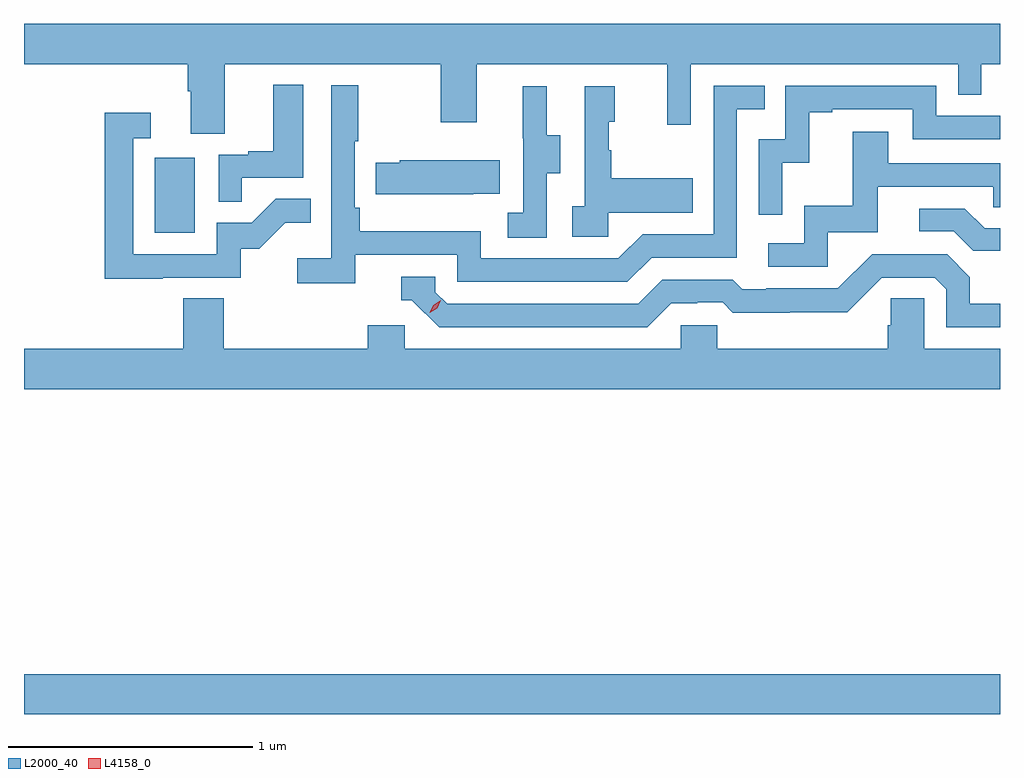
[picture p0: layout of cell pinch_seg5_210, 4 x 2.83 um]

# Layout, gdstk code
import gdstk
lib = gdstk.Library(unit=1e-6, precision=1e-09)
def R(c, l, rs):  # rectangles x0, y0, x1, y1
    for r in rs: c.add(gdstk.rectangle(r[:2], r[2:], *l))
def P(c, l, *ps):  # polygons
    for p in ps: c.add(gdstk.Polygon(p, *l))
L2000_40 = (2000, 40)
L4158_0 = (4158, 0)

pinch_seg5_210 = lib.new_cell('pinch_seg5_210')
R(pinch_seg5_210, L2000_40, [(1009.716,902.048,1013.716,902.212), (1010.252,904.02,1010.416,904.327)])
P(pinch_seg5_210, L2000_40, [(1010.539,904.712),(1011.424,904.712),(1011.424,904.473),(1011.571,904.473),(1011.571,904.712),(1012.352,904.712),(1012.352,904.464),(1012.449,904.464),(1012.449,904.712),(1013.544,904.712),(1013.544,904.585),(1013.64,904.585),(1013.64,904.712),(1013.716,904.712),(1013.716,904.876),(1009.716,904.876),(1009.716,904.712),(1010.387,904.712),(1010.387,904.6),(1010.399,904.6),(1010.399,904.426),(1010.539,904.426)],
  [(1010.609,904.245),(1010.86,904.245),(1010.86,904.627),(1010.738,904.627),(1010.738,904.354),(1010.635,904.354),(1010.635,904.341),(1010.514,904.341),(1010.514,904.147),(1010.609,904.147)],
  [(1011.074,903.93),(1011.492,903.93),(1011.492,903.819),(1012.189,903.819),(1012.288,903.918),(1012.638,903.918),(1012.638,904.527),(1012.751,904.527),(1012.751,904.623),(1012.542,904.623),(1012.542,904.014),(1012.251,904.014),(1012.152,903.915),(1011.588,903.915),(1011.588,904.027),(1011.092,904.027),(1011.092,904.123),(1011.072,904.123),(1011.072,904.396),(1011.085,904.396),(1011.085,904.624),(1010.976,904.624),(1010.976,903.916),(1010.835,903.916),(1010.835,903.814),(1011.074,903.814)],
  [(1012.824,904.307),(1012.934,904.307),(1012.934,904.515),(1013.029,904.515),(1013.029,904.527),(1013.358,904.527),(1013.358,904.404),(1013.716,904.404),(1013.716,904.5),(1013.454,904.5),(1013.454,904.623),(1012.836,904.623),(1012.836,904.404),(1012.728,904.404),(1012.728,904.095),(1012.824,904.095)],
  [(1012.11,904.103),(1012.457,904.103),(1012.457,904.243),(1012.123,904.243),(1012.123,904.358),(1012.113,904.358),(1012.113,904.476),(1012.138,904.476),(1012.138,904.621),(1012.014,904.621),(1012.014,904.13),(1011.963,904.13),(1011.963,904.005),(1012.11,904.005)],
  [(1011.858,904.264),(1011.913,904.264),(1011.913,904.419),(1011.859,904.419),(1011.859,904.621),(1011.761,904.621),(1011.761,904.407),(1011.762,904.407),(1011.762,904.103),(1011.699,904.103),(1011.699,904),(1011.858,904)],
  [(1010.285,903.837),(1010.604,903.837),(1010.604,903.954),(1010.68,903.954),(1010.787,904.061),(1010.891,904.061),(1010.891,904.16),(1010.748,904.16),(1010.65,904.062),(1010.505,904.062),(1010.505,903.933),(1010.163,903.933),(1010.163,904.407),(1010.236,904.407),(1010.236,904.513),(1010.047,904.513),(1010.047,903.832),(1010.285,903.832)],
  [(1013.01,904.023),(1013.215,904.023),(1013.215,904.209),(1013.689,904.209),(1013.689,904.125),(1013.716,904.125),(1013.716,904.305),(1013.257,904.305),(1013.257,904.435),(1013.113,904.435),(1013.113,904.132),(1012.914,904.132),(1012.914,903.978),(1012.767,903.978),(1012.767,903.882),(1013.01,903.882)],
  [(1011.557,904.181),(1011.665,904.181),(1011.665,904.318),(1011.255,904.318),(1011.255,904.308),(1011.157,904.308),(1011.157,904.178),(1011.557,904.178)],
  [(1013.716,904.038),(1013.653,904.038),(1013.572,904.119),(1013.385,904.119),(1013.385,904.026),(1013.526,904.026),(1013.606,903.946),(1013.716,903.946)],
  [(1012.369,903.732),(1012.476,903.732),(1012.476,903.735),(1012.579,903.735),(1012.621,903.693),(1012.854,903.693),(1012.854,903.695),(1013.09,903.695),(1013.232,903.837),(1013.448,903.837),(1013.496,903.789),(1013.496,903.633),(1013.716,903.633),(1013.716,903.729),(1013.593,903.729),(1013.593,903.839),(1013.499,903.933),(1013.193,903.933),(1013.052,903.792),(1012.759,903.792),(1012.759,903.789),(1012.66,903.789),(1012.621,903.828),(1012.332,903.828),(1012.233,903.729),(1011.45,903.729),(1011.402,903.777),(1011.402,903.84),(1011.263,903.84),(1011.263,903.744),(1011.306,903.744),(1011.417,903.633),(1012.27,903.633)],
  [(1013.716,903.544),(1013.406,903.544),(1013.406,903.752),(1013.269,903.752),(1013.269,903.642),(1013.255,903.642),(1013.255,903.544),(1012.557,903.544),(1012.557,903.642),(1012.407,903.642),(1012.407,903.544),(1011.276,903.544),(1011.276,903.642),(1011.125,903.642),(1011.125,903.544),(1010.534,903.544),(1010.534,903.752),(1010.369,903.752),(1010.369,903.544),(1009.716,903.544),(1009.716,903.38),(1013.716,903.38)])
P(pinch_seg5_210, L4158_0, [(1011.378,903.692),(1011.378,903.692),(1011.394,903.724),(1011.425,903.744),(1011.425,903.744),(1011.425,903.744),(1011.409,903.711),(1011.378,903.692)])

lib.write_gds('pinch_seg5_210.gds')
